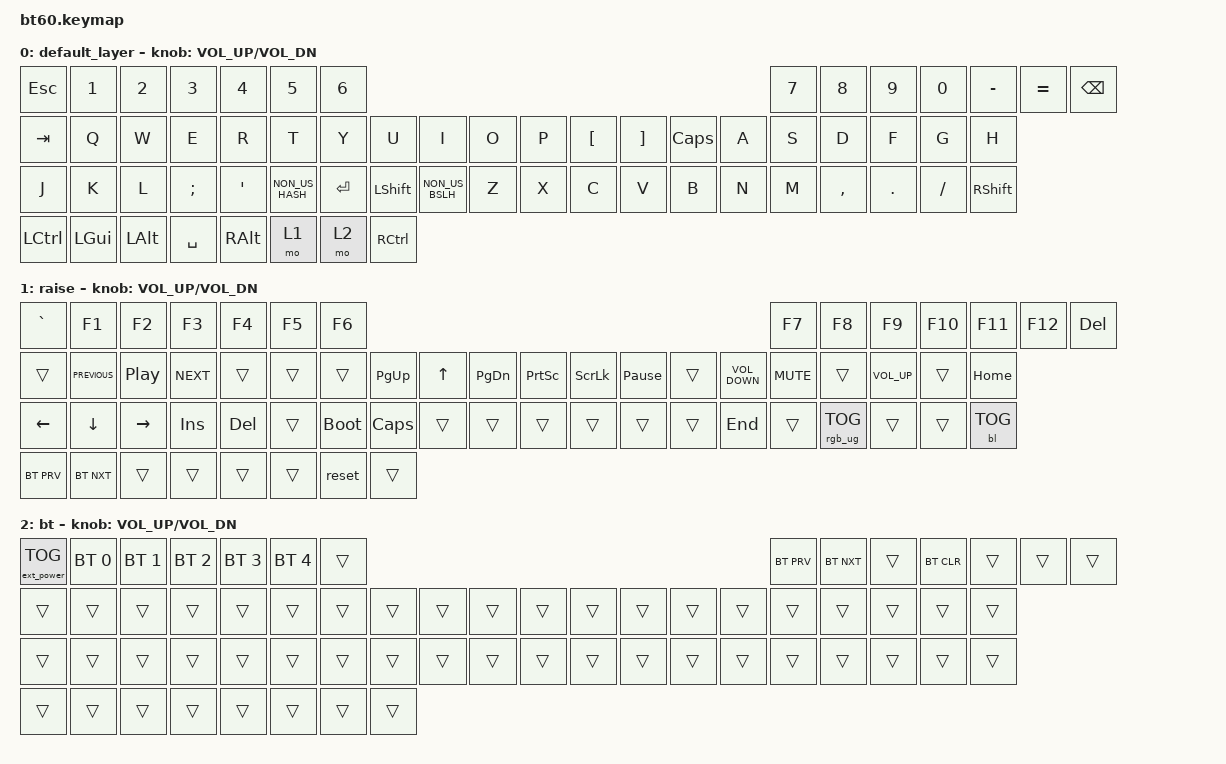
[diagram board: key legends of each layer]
#include <behaviors.dtsi>
#include <dt-bindings/zmk/keys.h>
#include <dt-bindings/zmk/bt.h>

/ {
	keymap {
		compatible = "zmk,keymap";

		default_layer {
				// ------------------------------------------------------------------------------------------
				// | ESC |  1  |  2  |  3  |  4  |  5  |  6  |  7  |  8  |  9  |  0  |  -  |  =  |   BKSP   |
				// | TAB  |  Q  |  W  |  E  |  R  |  T  |  Y  |  U  |  I  |  O  |  P  |  [  |  ]  |         |
				// | CAPS  |  A  |  S  |  D  |  F  |  G  |  H  |  J  |  K  |  L  |  ;  |  '  |  #   | ENTER |
				// |  SHIFT | |  |  Z  |  X  |  C  |  V  |  B  |  N  |  M  |  ,  |  .  | /   |     SHIFT    |
				// |  CTL  |  WIN  |  ALT  |                     SPACE        |   ALT   |  1  | MENU | CTRL |
				// ------------------------------------------------------------------------------------------
			bindings = <
				&kp ESC &kp N1 &kp N2 &kp N3 &kp N4 &kp N5 &kp N6 &kp N7 &kp  N8   &kp  N9 &kp  N0  &kp MINUS &kp EQUAL &kp BSPC
				&kp TAB  &kp Q  &kp W  &kp E  &kp R  &kp T  &kp Y  &kp U  &kp  I    &kp  O  &kp  P   &kp LBKT &kp RBKT
				&kp CLCK  &kp A  &kp S  &kp D  &kp F  &kp G  &kp H  &kp J  &kp  K    &kp  L  &kp SEMI &kp SQT  &kp NON_US_HASH  &kp RET
				&kp LSHFT &kp NON_US_BSLH &kp Z  &kp X  &kp C  &kp V  &kp B  &kp N  &kp M  &kp COMMA &kp DOT &kp FSLH             &kp RSHFT
				&kp LCTRL &kp LGUI &kp LALT            &kp SPACE                          &kp RALT  &mo 1 &mo 2 &kp RCTRL
			>;
			sensor-bindings = <&inc_dec_kp C_VOL_UP C_VOL_DN>;
		};
		raise {
			bindings = <
				&kp GRAVE &kp F1 &kp F2 &kp F3 &kp F4 &kp F5 &kp F6 &kp F7 &kp F8 &kp F9 &kp F10 &kp F11 &kp F12 &kp DEL 
				&trans &kp C_PREVIOUS &kp C_PLAY_PAUSE &kp C_NEXT &trans &trans &trans &kp PAGE_UP &kp UP_ARROW &kp PAGE_DOWN &kp PSCRN &kp SLCK &kp PAUSE_BREAK 
				&trans &kp C_VOLUME_DOWN &kp C_MUTE &trans &kp C_VOLUME_UP &trans &kp HOME &kp LEFT &kp DOWN &kp RIGHT &kp INS &kp DEL &trans &bootloader 
				&kp CAPSLOCK &trans &trans &trans &trans &trans &trans &kp END &trans &rgb_ug RGB_TOG &trans &trans &bl BL_TOG 
				&bt BT_PRV &bt BT_NXT &trans &trans &trans &trans &reset &trans
			>;
			sensor-bindings = <&inc_dec_kp C_VOL_UP C_VOL_DN>;
		};
		bt {
			bindings = <
				&ext_power EP_TOG &bt BT_SEL 0 &bt BT_SEL 1 &bt BT_SEL 2 &bt BT_SEL 3 &bt BT_SEL 4 &trans &bt BT_PRV &bt BT_NXT &trans &bt BT_CLR &trans &trans &trans 
				&trans &trans &trans &trans &trans &trans &trans &trans &trans &trans &trans &trans &trans &trans &trans &trans &trans &trans &trans &trans 
				&trans &trans &trans &trans &trans &trans &trans &trans &trans &trans &trans &trans &trans &trans &trans &trans &trans &trans &trans &trans 
				&trans &trans &trans &trans &trans &trans &trans &trans
			>;
			sensor-bindings = <&inc_dec_kp C_VOL_UP C_VOL_DN>;
		};
	};
};
